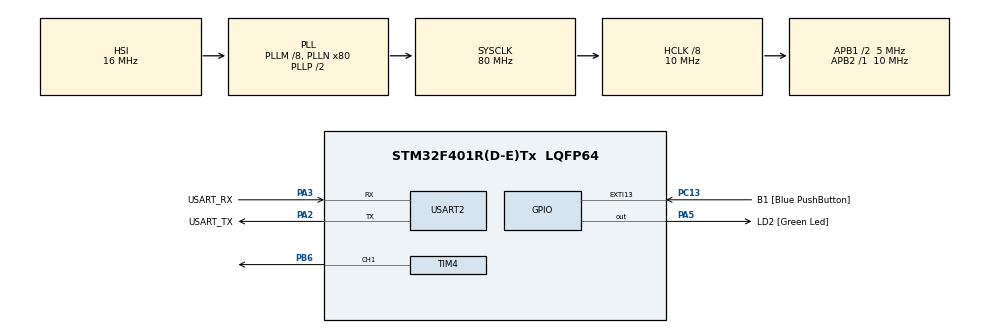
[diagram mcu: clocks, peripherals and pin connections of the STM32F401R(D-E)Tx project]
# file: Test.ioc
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Mcu.Family=STM32F4
Mcu.Name=STM32F401R(D-E)Tx
Mcu.Package=LQFP64
NVIC.EXTI15_10_IRQn=true\:2\:0\:true\:false\:true\:true\:true\:true
NVIC.PriorityGroup=NVIC_PRIORITYGROUP_2
NVIC.TIM4_IRQn=true\:0\:0\:false\:false\:true\:true\:true\:true
NVIC.USART2_IRQn=true\:2\:0\:true\:false\:true\:true\:true\:true
PA13.GPIO_Label=TMS
PA13.Mode=Serial_Wire
PA13.Signal=SYS_JTMS-SWDIO
PA14.GPIO_Label=TCK
PA14.Mode=Serial_Wire
PA14.Signal=SYS_JTCK-SWCLK
PA2.GPIO_Label=USART_TX
PA2.GPIO_Mode=GPIO_MODE_AF_PP
PA2.GPIO_PuPd=GPIO_NOPULL
PA2.GPIO_Speed=GPIO_SPEED_FREQ_LOW
PA2.Mode=Asynchronous
PA2.Signal=USART2_TX
PA3.GPIO_Label=USART_RX
PA3.GPIO_Mode=GPIO_MODE_AF_PP
PA3.GPIO_PuPd=GPIO_NOPULL
PA3.GPIO_Speed=GPIO_SPEED_FREQ_LOW
PA3.Mode=Asynchronous
PA3.Signal=USART2_RX
PA5.GPIO_Label=LD2 [Green Led]
PA5.GPIO_Mode=GPIO_MODE_OUTPUT_PP
PA5.GPIO_PuPd=GPIO_NOPULL
PA5.GPIO_Speed=GPIO_SPEED_FREQ_LOW
PA5.Signal=GPIO_Output
PB3.GPIO_Label=SWO
PB3.Signal=SYS_JTDO-SWO
PB6.Signal=S_TIM4_CH1
PC13-ANTI_TAMP.GPIO_Label=B1 [Blue PushButton]
PC13-ANTI_TAMP.GPIO_ModeDefaultEXTI=GPIO_MODE_IT_RISING
PC13-ANTI_TAMP.GPIO_PuPd=GPIO_NOPULL
PC13-ANTI_TAMP.Signal=GPXTI13
PC14-OSC32_IN.Mode=LSE-External-Oscillator
PC14-OSC32_IN.Signal=RCC_OSC32_IN
PC15-OSC32_OUT.Mode=LSE-External-Oscillator
PC15-OSC32_OUT.Signal=RCC_OSC32_OUT
PH0\ -\ OSC_IN.Mode=HSE-External-Clock-Source
PH0\ -\ OSC_IN.Signal=RCC_OSC_IN
PH1\ -\ OSC_OUT.Mode=HSE-External-Clock-Source
PH1\ -\ OSC_OUT.Signal=RCC_OSC_OUT
ProjectManager.HeapSize=0x200
ProjectManager.StackSize=0x400
ProjectManager.TargetToolchain=STM32CubeIDE
RCC.48MHZClocksFreq_Value=22857142.85714286
RCC.AHBCLKDivider=RCC_SYSCLK_DIV8
RCC.AHBFreq_Value=10000000
RCC.APB1CLKDivider=RCC_HCLK_DIV2
RCC.APB1Freq_Value=5000000
RCC.APB1TimFreq_Value=10000000
RCC.APB2Freq_Value=10000000
RCC.APB2TimFreq_Value=10000000
RCC.CortexFreq_Value=10000000
RCC.HCLKFreq_Value=10000000
RCC.HSE_VALUE=8000000
RCC.HSI_VALUE=16000000
RCC.PLLM=8
RCC.PLLN=80
RCC.PLLQ=7
RCC.SYSCLKFreq_VALUE=80000000
RCC.SYSCLKSource=RCC_SYSCLKSOURCE_PLLCLK
RCC.VCOOutputFreq_Value=160000000
SH.S_TIM4_CH1.0=TIM4_CH1,Output Compare1 CH1
TIM4.AutoReloadPreload=TIM_AUTORELOAD_PRELOAD_ENABLE
TIM4.Channel-Output\ Compare1\ CH1=TIM_CHANNEL_1
TIM4.Period=999
TIM4.Prescaler=1999
USART2.VirtualMode=VM_ASYNC
VP_TIM4_VS_ClockSourceINT.Mode=Internal
board=NUCLEO-F401RE

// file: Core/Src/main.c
/* USER CODE BEGIN Header */
/**
  ******************************************************************************
  * @file           : main.c
  * @brief          : Main program body
  ******************************************************************************
  * @attention
  *
  * Copyright (c) 2024 STMicroelectronics.
  * All rights reserved.
  *
  * This software is licensed under terms that can be found in the LICENSE file
  * in the root directory of this software component.
  * If no LICENSE file comes with this software, it is provided AS-IS.
  *
  ******************************************************************************
  */
/* USER CODE END Header */
#include "main.h"

TIM_HandleTypeDef htim4;

UART_HandleTypeDef huart2;

void SystemClock_Config(void);
static void MX_GPIO_Init(void);
static void MX_USART2_UART_Init(void);
static void MX_TIM4_Init(void);

/* USER CODE BEGIN 0 */
void HAL_TIM_PeriodElapsedCallback(TIM_HandleTypeDef* htim) {
	if (htim == &htim4) {
		HAL_GPIO_TogglePin(GPIOA, GPIO_PIN_5);
	}
}

char buffer[32];
char current[1];
int now = 0;
void HAL_UART_RxCpltCallback(UART_HandleTypeDef *huart)
{
	  buffer[now] = current[0];
	  if(buffer[now] == '\r' || buffer[now] == '\n'){
		  for(int i = now;i>=0;i--){
			  current[0] = buffer[i];
			  HAL_UART_Transmit(&huart2, current, 1, 10);
		  }
		  now = 0;
	  }
	  else now++;
}
/* USER CODE END 0 */

int main(void)
{

  /* MCU Configuration--------------------------------------------------------*/

  /* Reset of all peripherals, Initializes the Flash interface and the Systick. */
  HAL_Init();

  /* Configure the system clock */
  SystemClock_Config();

  /* Initialize all configured peripherals */
  MX_GPIO_Init();
  MX_USART2_UART_Init();
  MX_TIM4_Init();
  /* USER CODE BEGIN 2 */
  HAL_TIM_Base_Start_IT(&htim4);

  /* USER CODE END 2 */

  /* Infinite loop */
  /* USER CODE BEGIN WHILE */
  while (1)
  {
	  HAL_UART_Receive_IT(&huart2, current, 1);
    /* USER CODE END WHILE */

  }
}

void SystemClock_Config(void)
{
  RCC_OscInitTypeDef RCC_OscInitStruct = {0};
  RCC_ClkInitTypeDef RCC_ClkInitStruct = {0};

  /** Configure the main internal regulator output voltage
  */
  __HAL_RCC_PWR_CLK_ENABLE();
  __HAL_PWR_VOLTAGESCALING_CONFIG(PWR_REGULATOR_VOLTAGE_SCALE2);

  /** Initializes the RCC Oscillators according to the specified parameters
  * in the RCC_OscInitTypeDef structure.
  */
  RCC_OscInitStruct.OscillatorType = RCC_OSCILLATORTYPE_HSI;
  RCC_OscInitStruct.HSIState = RCC_HSI_ON;
  RCC_OscInitStruct.HSICalibrationValue = RCC_HSICALIBRATION_DEFAULT;
  RCC_OscInitStruct.PLL.PLLState = RCC_PLL_ON;
  RCC_OscInitStruct.PLL.PLLSource = RCC_PLLSOURCE_HSI;
  RCC_OscInitStruct.PLL.PLLM = 8;
  RCC_OscInitStruct.PLL.PLLN = 80;
  RCC_OscInitStruct.PLL.PLLP = RCC_PLLP_DIV2;
  RCC_OscInitStruct.PLL.PLLQ = 7;
  if (HAL_RCC_OscConfig(&RCC_OscInitStruct) != HAL_OK)
  {
    Error_Handler();
  }

  /** Initializes the CPU, AHB and APB buses clocks
  */
  RCC_ClkInitStruct.ClockType = RCC_CLOCKTYPE_HCLK|RCC_CLOCKTYPE_SYSCLK
                              |RCC_CLOCKTYPE_PCLK1|RCC_CLOCKTYPE_PCLK2;
  RCC_ClkInitStruct.SYSCLKSource = RCC_SYSCLKSOURCE_PLLCLK;
  RCC_ClkInitStruct.AHBCLKDivider = RCC_SYSCLK_DIV8;
  RCC_ClkInitStruct.APB1CLKDivider = RCC_HCLK_DIV2;
  RCC_ClkInitStruct.APB2CLKDivider = RCC_HCLK_DIV1;

  if (HAL_RCC_ClockConfig(&RCC_ClkInitStruct, FLASH_LATENCY_0) != HAL_OK)
  {
    Error_Handler();
  }
}

static void MX_TIM4_Init(void)
{

  TIM_ClockConfigTypeDef sClockSourceConfig = {0};
  TIM_MasterConfigTypeDef sMasterConfig = {0};
  TIM_OC_InitTypeDef sConfigOC = {0};

  htim4.Instance = TIM4;
  htim4.Init.Prescaler = 1999;
  htim4.Init.CounterMode = TIM_COUNTERMODE_UP;
  htim4.Init.Period = 999;
  htim4.Init.ClockDivision = TIM_CLOCKDIVISION_DIV1;
  htim4.Init.AutoReloadPreload = TIM_AUTORELOAD_PRELOAD_ENABLE;
  if (HAL_TIM_Base_Init(&htim4) != HAL_OK)
  {
    Error_Handler();
  }
  sClockSourceConfig.ClockSource = TIM_CLOCKSOURCE_INTERNAL;
  if (HAL_TIM_ConfigClockSource(&htim4, &sClockSourceConfig) != HAL_OK)
  {
    Error_Handler();
  }
  if (HAL_TIM_OC_Init(&htim4) != HAL_OK)
  {
    Error_Handler();
  }
  sMasterConfig.MasterOutputTrigger = TIM_TRGO_RESET;
  sMasterConfig.MasterSlaveMode = TIM_MASTERSLAVEMODE_DISABLE;
  if (HAL_TIMEx_MasterConfigSynchronization(&htim4, &sMasterConfig) != HAL_OK)
  {
    Error_Handler();
  }
  sConfigOC.OCMode = TIM_OCMODE_TIMING;
  sConfigOC.Pulse = 0;
  sConfigOC.OCPolarity = TIM_OCPOLARITY_HIGH;
  sConfigOC.OCFastMode = TIM_OCFAST_DISABLE;
  if (HAL_TIM_OC_ConfigChannel(&htim4, &sConfigOC, TIM_CHANNEL_1) != HAL_OK)
  {
    Error_Handler();
  }
  HAL_TIM_MspPostInit(&htim4);

}

static void MX_USART2_UART_Init(void)
{

  huart2.Instance = USART2;
  huart2.Init.BaudRate = 115200;
  huart2.Init.WordLength = UART_WORDLENGTH_8B;
  huart2.Init.StopBits = UART_STOPBITS_1;
  huart2.Init.Parity = UART_PARITY_NONE;
  huart2.Init.Mode = UART_MODE_TX_RX;
  huart2.Init.HwFlowCtl = UART_HWCONTROL_NONE;
  huart2.Init.OverSampling = UART_OVERSAMPLING_16;
  if (HAL_UART_Init(&huart2) != HAL_OK)
  {
    Error_Handler();
  }

}

static void MX_GPIO_Init(void)
{
  GPIO_InitTypeDef GPIO_InitStruct = {0};

  /* GPIO Ports Clock Enable */
  __HAL_RCC_GPIOC_CLK_ENABLE();
  __HAL_RCC_GPIOH_CLK_ENABLE();
  __HAL_RCC_GPIOA_CLK_ENABLE();
  __HAL_RCC_GPIOB_CLK_ENABLE();

  /*Configure GPIO pin Output Level */
  HAL_GPIO_WritePin(LD2_GPIO_Port, LD2_Pin, GPIO_PIN_RESET);

  /*Configure GPIO pin : B1_Pin */
  GPIO_InitStruct.Pin = B1_Pin;
  GPIO_InitStruct.Mode = GPIO_MODE_IT_RISING;
  GPIO_InitStruct.Pull = GPIO_NOPULL;
  HAL_GPIO_Init(B1_GPIO_Port, &GPIO_InitStruct);

  /*Configure GPIO pin : LD2_Pin */
  GPIO_InitStruct.Pin = LD2_Pin;
  GPIO_InitStruct.Mode = GPIO_MODE_OUTPUT_PP;
  GPIO_InitStruct.Pull = GPIO_NOPULL;
  GPIO_InitStruct.Speed = GPIO_SPEED_FREQ_LOW;
  HAL_GPIO_Init(LD2_GPIO_Port, &GPIO_InitStruct);

  /* EXTI interrupt init*/
  HAL_NVIC_SetPriority(EXTI15_10_IRQn, 2, 0);
  HAL_NVIC_EnableIRQ(EXTI15_10_IRQn);

}

void Error_Handler(void)
{
  __disable_irq();
  while (1)
  {
  }
}
